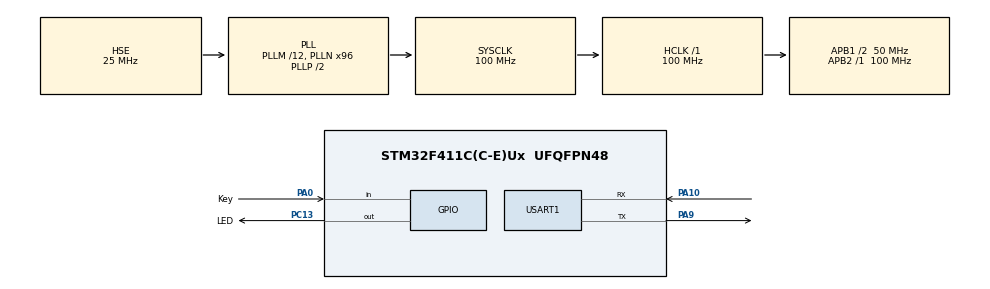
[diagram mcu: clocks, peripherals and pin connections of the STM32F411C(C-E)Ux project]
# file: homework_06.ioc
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FREERTOS.Tasks01=defaultTask,24,128,StartDefaultTask,Default,NULL,Dynamic,NULL,NULL
Mcu.Family=STM32F4
Mcu.Name=STM32F411C(C-E)Ux
Mcu.Package=UFQFPN48
NVIC.PriorityGroup=NVIC_PRIORITYGROUP_4
NVIC.TIM1_UP_TIM10_IRQn=true\:15\:0\:false\:false\:true\:false\:false\:true\:true
NVIC.TimeBase=TIM1_UP_TIM10_IRQn
NVIC.TimeBaseIP=TIM1
PA0-WKUP.GPIO_Label=Key
PA0-WKUP.GPIO_PuPd=GPIO_PULLUP
PA0-WKUP.Signal=GPIO_Input
PA10.Mode=Asynchronous
PA10.Signal=USART1_RX
PA13.Mode=Serial_Wire
PA13.Signal=SYS_JTMS-SWDIO
PA14.Mode=Serial_Wire
PA14.Signal=SYS_JTCK-SWCLK
PA9.Mode=Asynchronous
PA9.Signal=USART1_TX
PC13-ANTI_TAMP.GPIO_Label=LED
PC13-ANTI_TAMP.Signal=GPIO_Output
PC14-OSC32_IN.Mode=LSE-External-Oscillator
PC14-OSC32_IN.Signal=RCC_OSC32_IN
PC15-OSC32_OUT.Mode=LSE-External-Oscillator
PC15-OSC32_OUT.Signal=RCC_OSC32_OUT
PH0\ -\ OSC_IN.Mode=HSE-External-Oscillator
PH0\ -\ OSC_IN.Signal=RCC_OSC_IN
PH1\ -\ OSC_OUT.Mode=HSE-External-Oscillator
PH1\ -\ OSC_OUT.Signal=RCC_OSC_OUT
ProjectManager.HeapSize=0x200
ProjectManager.StackSize=0x400
ProjectManager.TargetToolchain=MDK-ARM V5.32
RCC.48MHZClocksFreq_Value=50000000
RCC.AHBFreq_Value=100000000
RCC.APB1CLKDivider=RCC_HCLK_DIV2
RCC.APB1Freq_Value=50000000
RCC.APB1TimFreq_Value=100000000
RCC.APB2Freq_Value=100000000
RCC.APB2TimFreq_Value=100000000
RCC.CortexFreq_Value=100000000
RCC.HCLKFreq_Value=100000000
RCC.HSE_VALUE=25000000
RCC.HSI_VALUE=16000000
RCC.PLLM=12
RCC.PLLN=96
RCC.PLLSourceVirtual=RCC_PLLSOURCE_HSE
RCC.SYSCLKFreq_VALUE=100000000
RCC.SYSCLKSource=RCC_SYSCLKSOURCE_PLLCLK
RCC.VCOOutputFreq_Value=200000000
USART1.VirtualMode=VM_ASYNC
VP_FREERTOS_VS_CMSIS_V2.Mode=CMSIS_V2
VP_SYS_VS_tim1.Mode=TIM1
board=custom

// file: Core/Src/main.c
/* USER CODE BEGIN Header */
/**
  ******************************************************************************
  * @file           : main.c
  * @brief          : Main program body
  ******************************************************************************
  * @attention
  *
  * Copyright (c) 2024 STMicroelectronics.
  * All rights reserved.
  *
  * This software is licensed under terms that can be found in the LICENSE file
  * in the root directory of this software component.
  * If no LICENSE file comes with this software, it is provided AS-IS.
  *
  ******************************************************************************
  */
/* USER CODE END Header */
#include "main.h"
#include "cmsis_os.h"
#include "queue.h"

/* USER CODE BEGIN Includes */
#include <stdio.h>
#include "bsp_key.h"

/* USER CODE END Includes */

UART_HandleTypeDef huart1;

/* Definitions for defaultTask */
osThreadId_t defaultTaskHandle;
const osThreadAttr_t defaultTask_attributes = {
  .name = "defaultTask",
  .stack_size = 128 * 4,
  .priority = (osPriority_t) osPriorityNormal,
};

/* USER CODE BEGIN PV */
//*********************Thread_Func **********************//
osThreadId_t key_TaskHandle;
const osThreadAttr_t key_Task_attributes = {
  .name = "key_Task",
  .stack_size = 128 * 4,
  .priority = (osPriority_t) osPriorityHigh,
};
//*********************Thread_Func **********************//

//*********************Queue_Handler ********************//
QueueHandle_t key_queue;

//*********************Queue_Handler ********************//

/* USER CODE END PV */

void SystemClock_Config(void);
static void MX_GPIO_Init(void);
static void MX_USART1_UART_Init(void);
void StartDefaultTask(void *argument);

/* USER CODE BEGIN PFP */
 #ifdef __GNUC__
     #define PUTCHAR_PROTOTYPE int _io_putchar(int ch)
 #else
     #define PUTCHAR_PROTOTYPE int fputc(int ch, FILE *f)
 #endif /* __GNUC__*/

 /******************************************************************
     *@brief  Retargets the C library printf  function to the USART.
     *@param  None
     *@retval None
 ******************************************************************/
 PUTCHAR_PROTOTYPE
 {
     HAL_UART_Transmit(&huart1, (uint8_t *)&ch,1,0xFFFF);
     return ch;
 }

/**
  * @brief  key thread function
  * @param  void * argument
  * @retval void
*/
void key_task_func(void *argument);

/* USER CODE END PFP */

int main(void)
{

  /* MCU Configuration--------------------------------------------------------*/

  /* Reset of all peripherals, Initializes the Flash interface and the Systick. */
  HAL_Init();

  /* Configure the system clock */
  SystemClock_Config();

  /* Initialize all configured peripherals */
  MX_GPIO_Init();
  MX_USART1_UART_Init();

  /* Init scheduler */
  osKernelInitialize();

  /* Create the thread(s) */
  /* creation of defaultTask */
  defaultTaskHandle = osThreadNew(StartDefaultTask, NULL, &defaultTask_attributes);

  /* USER CODE BEGIN RTOS_THREADS */
  /* add threads, ... */
  key_TaskHandle = osThreadNew(key_task_func, NULL, &key_Task_attributes);
  /* USER CODE END RTOS_THREADS */

  /* Start scheduler */
  osKernelStart();

  /* We should never get here as control is now taken by the scheduler */

  /* Infinite loop */
  while (1)
  {

  }
}

void SystemClock_Config(void)
{
  RCC_OscInitTypeDef RCC_OscInitStruct = {0};
  RCC_ClkInitTypeDef RCC_ClkInitStruct = {0};

  /** Configure the main internal regulator output voltage
  */
  __HAL_RCC_PWR_CLK_ENABLE();
  __HAL_PWR_VOLTAGESCALING_CONFIG(PWR_REGULATOR_VOLTAGE_SCALE1);

  /** Initializes the RCC Oscillators according to the specified parameters
  * in the RCC_OscInitTypeDef structure.
  */
  RCC_OscInitStruct.OscillatorType = RCC_OSCILLATORTYPE_HSE;
  RCC_OscInitStruct.HSEState = RCC_HSE_ON;
  RCC_OscInitStruct.PLL.PLLState = RCC_PLL_ON;
  RCC_OscInitStruct.PLL.PLLSource = RCC_PLLSOURCE_HSE;
  RCC_OscInitStruct.PLL.PLLM = 12;
  RCC_OscInitStruct.PLL.PLLN = 96;
  RCC_OscInitStruct.PLL.PLLP = RCC_PLLP_DIV2;
  RCC_OscInitStruct.PLL.PLLQ = 4;
  if (HAL_RCC_OscConfig(&RCC_OscInitStruct) != HAL_OK)
  {
    Error_Handler();
  }

  /** Initializes the CPU, AHB and APB buses clocks
  */
  RCC_ClkInitStruct.ClockType = RCC_CLOCKTYPE_HCLK|RCC_CLOCKTYPE_SYSCLK
                              |RCC_CLOCKTYPE_PCLK1|RCC_CLOCKTYPE_PCLK2;
  RCC_ClkInitStruct.SYSCLKSource = RCC_SYSCLKSOURCE_PLLCLK;
  RCC_ClkInitStruct.AHBCLKDivider = RCC_SYSCLK_DIV1;
  RCC_ClkInitStruct.APB1CLKDivider = RCC_HCLK_DIV2;
  RCC_ClkInitStruct.APB2CLKDivider = RCC_HCLK_DIV1;

  if (HAL_RCC_ClockConfig(&RCC_ClkInitStruct, FLASH_LATENCY_3) != HAL_OK)
  {
    Error_Handler();
  }
}

static void MX_USART1_UART_Init(void)
{

  huart1.Instance = USART1;
  huart1.Init.BaudRate = 115200;
  huart1.Init.WordLength = UART_WORDLENGTH_8B;
  huart1.Init.StopBits = UART_STOPBITS_1;
  huart1.Init.Parity = UART_PARITY_NONE;
  huart1.Init.Mode = UART_MODE_TX_RX;
  huart1.Init.HwFlowCtl = UART_HWCONTROL_NONE;
  huart1.Init.OverSampling = UART_OVERSAMPLING_16;
  if (HAL_UART_Init(&huart1) != HAL_OK)
  {
    Error_Handler();
  }

}

static void MX_GPIO_Init(void)
{
  GPIO_InitTypeDef GPIO_InitStruct = {0};

  /* GPIO Ports Clock Enable */
  __HAL_RCC_GPIOC_CLK_ENABLE();
  __HAL_RCC_GPIOH_CLK_ENABLE();
  __HAL_RCC_GPIOA_CLK_ENABLE();

  /*Configure GPIO pin Output Level */
  HAL_GPIO_WritePin(LED_GPIO_Port, LED_Pin, GPIO_PIN_RESET);

  /*Configure GPIO pin : LED_Pin */
  GPIO_InitStruct.Pin = LED_Pin;
  GPIO_InitStruct.Mode = GPIO_MODE_OUTPUT_PP;
  GPIO_InitStruct.Pull = GPIO_NOPULL;
  GPIO_InitStruct.Speed = GPIO_SPEED_FREQ_LOW;
  HAL_GPIO_Init(LED_GPIO_Port, &GPIO_InitStruct);

  /*Configure GPIO pin : Key_Pin */
  GPIO_InitStruct.Pin = Key_Pin;
  GPIO_InitStruct.Mode = GPIO_MODE_INPUT;
  GPIO_InitStruct.Pull = GPIO_PULLUP;
  HAL_GPIO_Init(Key_GPIO_Port, &GPIO_InitStruct);

}

/* USER CODE BEGIN 4 */
void key_task_func(void *argument)
{

  key_status_t  ket_ret          =          KEY_OK;
  key_press_status_t key_statues = KEY_NOT_PRESSED;
  key_queue = xQueueCreate( 10, sizeof( uint32_t ) );
  uint32_t counter_tick = 0;
  if (NULL == key_queue )
  {
      printf("key_queue created failed \r\n");
  }
  else
  {
      printf("key_queue created successfully \r\n");
  }
  for(;;)
  {
    counter_tick++;
    //printf("Hellow Key thread\r\n");

    ket_ret = key_scan(&key_statues);

    if( KEY_OK == ket_ret)
    {
        if ( KEY_PRESSED == key_statues )
        {
            printf("Key_Pressed\r\n");
            if ( pdTRUE == xQueueSendToFront(key_queue,&counter_tick,0))
            {
                printf("send successfully\r\n");
            }
        }
    }
    if( KEY_OK != ket_ret)
    {
        printf("Key_not_Pressed\r\n");
    }
    osDelay(100);
  }
  /* USER CODE END 5 */
}
/* USER CODE END 4 */

void StartDefaultTask(void *argument)
{
  /* USER CODE BEGIN 5 */
   uint32_t received_value = 0;
  /* Infinite loop */
  for(;;)
  {
    printf("StartDefaultTask\r\n");
    if( key_queue != 0 )
	{
		// Receive a message on the created queue.  Block for 10 ticks if a
		// message is not immediately available.
		if( xQueueReceive( key_queue, &( received_value ), ( TickType_t ) 100 ) )
		{
			// pcRxedMessage now points to the struct AMessage variable posted
			// by vATask.
            printf("received queue value = [%d]" , received_value);

		}
	}

    osDelay(1);
  }
  /* USER CODE END 5 */
}

void HAL_TIM_PeriodElapsedCallback(TIM_HandleTypeDef *htim)
{
  if (htim->Instance == TIM1) {
    HAL_IncTick();
  }
}

void Error_Handler(void)
{
  __disable_irq();
  while (1)
  {
  }
}
